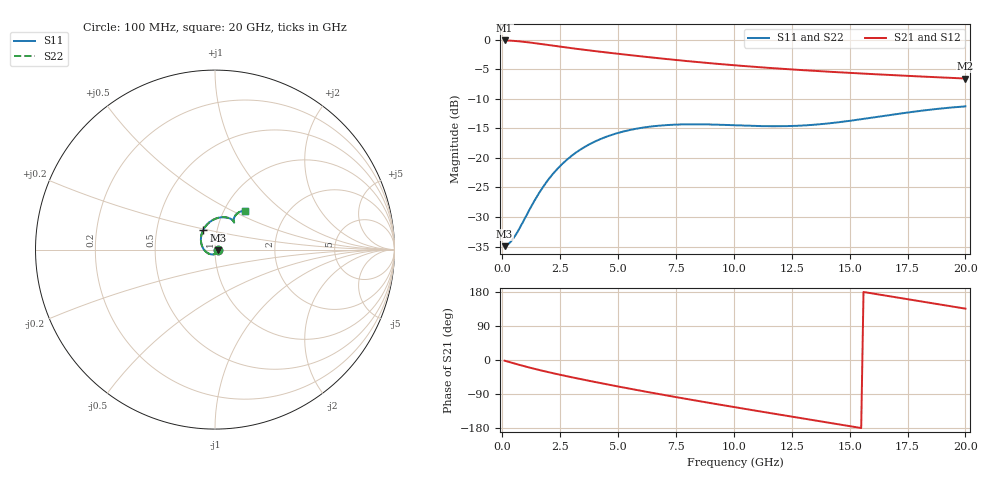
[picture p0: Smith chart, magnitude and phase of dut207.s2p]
! Created with skrf 1.9.0 (http://scikit-rf.org).
# GHz S RI R 50.0
!freq ReS11 ImS11 ReS21 ImS21 ReS12 ImS12 ReS22 ImS22
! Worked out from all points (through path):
!   200 points, 100 MHz to 20 GHz, reference 50 ohm
!   highest |S21| = -0.16 dB at 100 MHz (marker M1); lowest = -6.6 dB at 20 GHz (marker M2)
!   group delay of S21, straight-line fit = 29.9 ps
!   lowest |S11| = -34.9 dB at 100 MHz (marker M3), VSWR 1.04, Z = 51.8 - j0.445 ohm
!   |S11| at or under -10 dB: start of sweep to end of sweep
!   |S22| runs from -34.9 to -11.3 dB; largest |S21 - S12| = 2.3e-15
!   S11 on the Smith chart (normalised r, x): 100 MHz: 1.04, -0.01; 3.7 GHz: 0.86, +0.19; 20 GHz: 1.25, +0.58
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0.1  0.0174 -0.00429  0.9814 -0.0305  0.9814 -0.0305  0.0174 -0.00429
0.3  0.0143 -0.0125  0.9749 -0.0909  0.9749 -0.0909  0.0143 -0.0125
0.6  0.00429 -0.0223  0.9542 -0.1774  0.9542 -0.1774  0.00429 -0.0223
1.1  -0.0218 -0.0264  0.8976 -0.3054  0.8976 -0.3054  -0.0218 -0.0264
1.7  -0.0538 -0.00914  0.8082 -0.4285  0.8082 -0.4285  -0.0538 -0.00914
2.1  -0.0688 0.0121  0.7428 -0.4937  0.7428 -0.4937  -0.0688 0.0121
2.5  -0.0769 0.0371  0.6758 -0.5479  0.6758 -0.5479  -0.0769 0.0371
3  -0.0778 0.0694  0.5912 -0.6027  0.5912 -0.6027  -0.0778 0.0694
3.5  -0.07 0.0996  0.5068 -0.6452  0.5068 -0.6452  -0.07 0.0996
3.7  -0.065 0.1105  0.4732 -0.6591  0.4732 -0.6591  -0.065 0.1105
4.4  -0.0419 0.1423  0.3571 -0.6949  0.3571 -0.6949  -0.0419 0.1423
5.2  -0.0101 0.1661  0.229 -0.7138  0.229 -0.7138  -0.0101 0.1661
6  0.0218 0.1779  0.1082 -0.7122  0.1082 -0.7122  0.0218 0.1779
6.8  0.0499 0.1805  -0.00325 -0.6933  -0.00325 -0.6933  0.0499 0.1805
8.4  0.0886 0.1705  -0.1941 -0.6158  -0.1941 -0.6158  0.0886 0.1705
10.1  0.1052 0.1562  -0.3477 -0.4941  -0.3477 -0.4941  0.1052 0.1562
11.7  0.1063 0.1514  -0.4472 -0.3572  -0.4472 -0.3572  0.1063 0.1514
13.4  0.1036 0.1593  -0.5066 -0.1998  -0.5066 -0.1998  0.1036 0.1593
15  0.106 0.176  -0.5201 -0.05  -0.5201 -0.05  0.106 0.176
16.7  0.1187 0.1965  -0.4918 0.1003  -0.4918 0.1003  0.1187 0.1965
18.3  0.1395 0.211  -0.4298 0.2239  -0.4298 0.2239  0.1395 0.211
20  0.1659 0.2159  -0.334 0.328  -0.334 0.328  0.1659 0.2159
